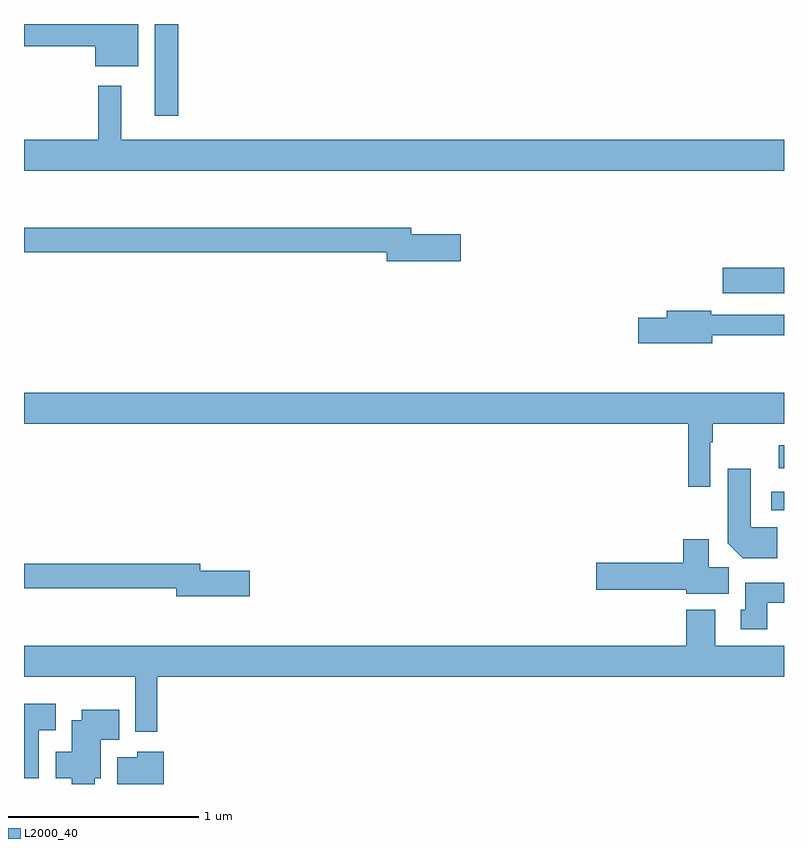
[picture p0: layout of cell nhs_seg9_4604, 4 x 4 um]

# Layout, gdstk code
import gdstk
lib = gdstk.Library(unit=1e-6, precision=1e-09)
def R(c, l, rs):  # rectangles x0, y0, x1, y1
    for r in rs: c.add(gdstk.rectangle(r[:2], r[2:], *l))
def P(c, l, *ps):  # polygons
    for p in ps: c.add(gdstk.Polygon(p, *l))
L2000_40 = (2000, 40)

nhs_seg9_4604 = lib.new_cell('nhs_seg9_4604')
R(nhs_seg9_4604, L2000_40, [(378.933,1219.941,379,1220.037), (378.972,1220.162,379,1220.284), (378.678,1221.083,379,1221.218), (375.689,1222.017,375.811,1222.5)])
P(nhs_seg9_4604, L2000_40, [(375.601,1222.5),(375,1222.5),(375,1222.384),(375.374,1222.384),(375.374,1222.277),(375.601,1222.277)],
  [(379,1221.892),(375.511,1221.892),(375.511,1222.174),(375.39,1222.174),(375.39,1221.892),(375,1221.892),(375,1221.728),(379,1221.728)],
  [(377.299,1221.393),(377.038,1221.393),(377.038,1221.427),(375,1221.427),(375,1221.298),(376.91,1221.298),(376.91,1221.251),(377.299,1221.251)],
  [(378.622,1220.862),(379,1220.862),(379,1220.97),(378.618,1220.97),(378.618,1220.99),(378.383,1220.99),(378.383,1220.954),(378.234,1220.954),(378.234,1220.819),(378.622,1220.819)],
  [(378.612,1220.3),(378.625,1220.3),(378.625,1220.396),(379,1220.396),(379,1220.56),(375,1220.56),(375,1220.396),(378.496,1220.396),(378.496,1220.064),(378.612,1220.064)],
  [(378.965,1219.852),(378.826,1219.852),(378.826,1220.158),(378.704,1220.158),(378.704,1219.766),(378.782,1219.688),(378.965,1219.688)],
  [(378.709,1219.64),(378.604,1219.64),(378.604,1219.789),(378.47,1219.789),(378.47,1219.664),(378.012,1219.664),(378.012,1219.522),(378.486,1219.522),(378.486,1219.502),(378.709,1219.502)],
  [(376.189,1219.622),(375.928,1219.622),(375.928,1219.658),(375,1219.658),(375,1219.53),(375.8,1219.53),(375.8,1219.487),(376.189,1219.487)],
  [(378.913,1219.454),(379,1219.454),(379,1219.558),(378.797,1219.558),(378.797,1219.416),(378.773,1219.416),(378.773,1219.314),(378.913,1219.314)],
  [(375.701,1219.064),(379,1219.064),(379,1219.228),(378.637,1219.228),(378.637,1219.417),(378.485,1219.417),(378.485,1219.228),(375,1219.228),(375,1219.064),(375.585,1219.064),(375.585,1218.774),(375.701,1218.774)],
  [(375.078,1218.782),(375.166,1218.782),(375.166,1218.922),(375,1218.922),(375,1218.53),(375.078,1218.53)],
  [(375.373,1218.53),(375.403,1218.53),(375.403,1218.734),(375.5,1218.734),(375.5,1218.892),(375.305,1218.892),(375.305,1218.835),(375.251,1218.835),(375.251,1218.67),(375.167,1218.67),(375.167,1218.53),(375.251,1218.53),(375.251,1218.5),(375.373,1218.5)],
  [(375.736,1218.67),(375.596,1218.67),(375.596,1218.64),(375.491,1218.64),(375.491,1218.5),(375.736,1218.5)])

lib.write_gds('nhs_seg9_4604.gds')
